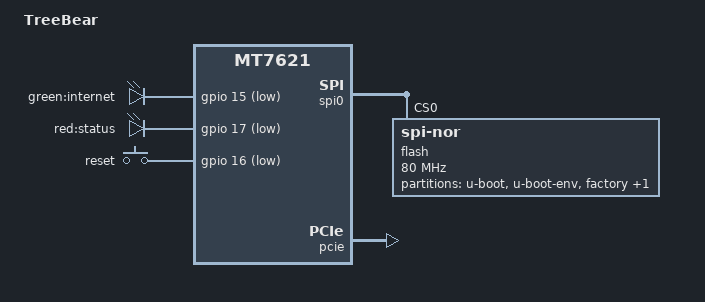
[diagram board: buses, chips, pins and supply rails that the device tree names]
#include "mt7621.dtsi"

#include <dt-bindings/gpio/gpio.h>
#include <dt-bindings/input/input.h>

/ {
	compatible = "witown,treebear", "mediatek,mt7621-soc";
	model = "TreeBear";

	aliases {
		led-boot = &led_red;
		led-failsafe = &led_red;
		led-running = &led_red;
		led-upgrade = &led_red;
		label-mac-device = &gmac0;
	};

	chosen {
		bootargs = "console=ttyS0,115200";
	};

	leds {
		compatible = "gpio-leds";

        internet-green {
			label = "green:internet";
			gpios = <&gpio 15 GPIO_ACTIVE_LOW>;
		};

		led_red: led-red {
			label = "red:status";
			gpios = <&gpio 17 GPIO_ACTIVE_LOW>;
		};
	};

	keys {
		compatible = "gpio-keys";

		reset {
			label = "reset";
			gpios = <&gpio 16 GPIO_ACTIVE_LOW>;
			linux,code = <KEY_RESTART>;
		};
	};
};

&spi0 {
	status = "okay";

	flash@0 {
		compatible = "jedec,spi-nor";
		reg = <0>;
		spi-max-frequency = <80000000>;
		m25p,fast-read;

		partitions {
			compatible = "fixed-partitions";
			#address-cells = <1>;
			#size-cells = <1>;

			partition@0 {
				label = "u-boot";
				reg = <0x0 0x30000>;
				read-only;
			};

			partition@30000 {
				label = "u-boot-env";
				reg = <0x30000 0x10000>;
				read-only;
			};

			factory: partition@40000 {
				label = "factory";
				reg = <0x40000 0x10000>;
				read-only;
			};

			partition@50000 {
				compatible = "denx,uimage";
				label = "firmware";
				reg = <0x50000 0x1fb0000>;
			};
		};
	};
};

&pcie {
	status = "okay";
};

&pcie0 {
	mt76@0,0 {
		reg = <0x0000 0 0 0 0>;
		mediatek,mtd-eeprom = <&factory 0x0000>;
	};
};

&pcie1 {
	mt76@0,0 {
		reg = <0x0000 0 0 0 0>;
		mediatek,mtd-eeprom = <&factory 0x8000>;
		ieee80211-freq-limit = <5000000 6000000>;
	};
};

&gmac0 {
	mtd-mac-address = <&factory 0xe000>;
};

&switch0 {
	ports {
		port@1 {
			status = "okay";
			label = "lan1";
		};

		port@2 {
			status = "okay";
			label = "lan2";
		};

		port@3 {
			status = "okay";
			label = "lan3";
		};

		port@4 {
			status = "okay";
			label = "wan";
			mtd-mac-address = <&factory 0xe006>;
		};
	};
};

&state_default {
	gpio {
		groups = "i2c", "jtag", "uart2", "uart3";
		function = "gpio";
	};
};
